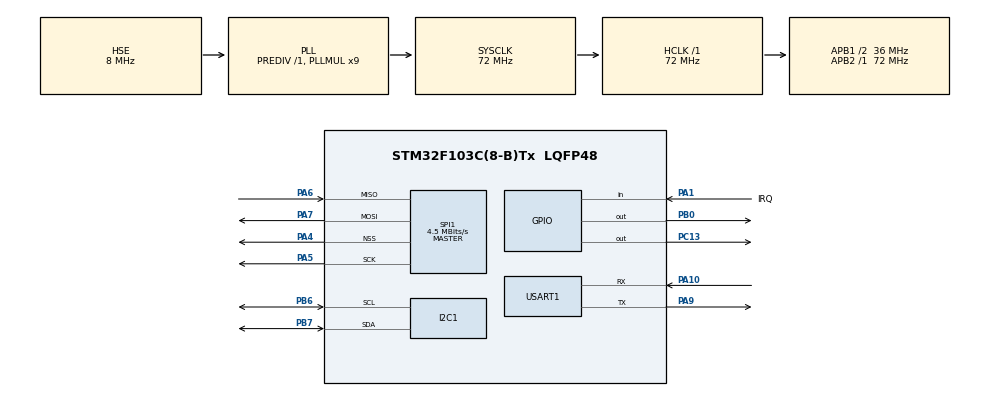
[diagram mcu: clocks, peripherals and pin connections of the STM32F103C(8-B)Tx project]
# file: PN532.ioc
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Mcu.Family=STM32F1
Mcu.Name=STM32F103C(8-B)Tx
Mcu.Package=LQFP48
NVIC.I2C1_ER_IRQn=true\:0\:0\:false\:false\:true\:true\:true\:true
NVIC.I2C1_EV_IRQn=true\:0\:0\:false\:false\:true\:true\:true\:true
NVIC.PriorityGroup=NVIC_PRIORITYGROUP_4
NVIC.SPI1_IRQn=true\:0\:0\:false\:false\:true\:true\:true\:true
NVIC.USART1_IRQn=true\:0\:0\:false\:false\:true\:true\:true\:true
PA1.GPIO_Label=IRQ
PA1.Signal=GPIO_Input
PA10.Mode=Asynchronous
PA10.Signal=USART1_RX
PA13.Mode=Serial_Wire
PA13.Signal=SYS_JTMS-SWDIO
PA14.Mode=Serial_Wire
PA14.Signal=SYS_JTCK-SWCLK
PA4.Mode=NSS_Signal_Hard_Output
PA4.Signal=SPI1_NSS
PA5.Mode=Full_Duplex_Master
PA5.Signal=SPI1_SCK
PA6.Mode=Full_Duplex_Master
PA6.Signal=SPI1_MISO
PA7.Mode=Full_Duplex_Master
PA7.Signal=SPI1_MOSI
PA9.Mode=Asynchronous
PA9.Signal=USART1_TX
PB0.GPIO_Speed=GPIO_SPEED_FREQ_HIGH
PB0.Signal=GPIO_Output
PB6.Mode=I2C
PB6.Signal=I2C1_SCL
PB7.Mode=I2C
PB7.Signal=I2C1_SDA
PC13-TAMPER-RTC.GPIO_Speed=GPIO_SPEED_FREQ_HIGH
PC13-TAMPER-RTC.PinState=GPIO_PIN_SET
PC13-TAMPER-RTC.Signal=GPIO_Output
PD0-OSC_IN.Mode=HSE-External-Oscillator
PD0-OSC_IN.Signal=RCC_OSC_IN
PD1-OSC_OUT.Mode=HSE-External-Oscillator
PD1-OSC_OUT.Signal=RCC_OSC_OUT
ProjectManager.HeapSize=0x200
ProjectManager.StackSize=0x400
ProjectManager.TargetToolchain=STM32CubeIDE
RCC.AHBFreq_Value=72000000
RCC.APB1CLKDivider=RCC_HCLK_DIV2
RCC.APB1Freq_Value=36000000
RCC.APB1TimFreq_Value=72000000
RCC.APB2Freq_Value=72000000
RCC.APB2TimFreq_Value=72000000
RCC.HCLKFreq_Value=72000000
RCC.PLLMUL=RCC_PLL_MUL9
RCC.PLLSourceVirtual=RCC_PLLSOURCE_HSE
RCC.SYSCLKFreq_VALUE=72000000
RCC.SYSCLKSource=RCC_SYSCLKSOURCE_PLLCLK
RCC.USBFreq_Value=72000000
SPI1.BaudRatePrescaler=SPI_BAUDRATEPRESCALER_16
SPI1.CalculateBaudRate=4.5 MBits/s
SPI1.Direction=SPI_DIRECTION_2LINES
SPI1.Mode=SPI_MODE_MASTER
SPI1.VirtualNSS=VM_NSSHARD
SPI1.VirtualType=VM_MASTER
USART1.VirtualMode=VM_ASYNC
board=custom

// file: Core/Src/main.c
/* USER CODE BEGIN Header */
/**
  ******************************************************************************
  * @file           : main.c
  * @brief          : Main program body
  ******************************************************************************
  * @attention
  *
  * Copyright (c) 2025 STMicroelectronics.
  * All rights reserved.
  *
  * This software is licensed under terms that can be found in the LICENSE file
  * in the root directory of this software component.
  * If no LICENSE file comes with this software, it is provided AS-IS.
  *
  ******************************************************************************
  */
/* USER CODE END Header */
#include "main.h"

/* USER CODE BEGIN Includes */
#include "string.h"
#include "stdio.h"
#include "pn532.h"
/* USER CODE END Includes */

/* USER CODE BEGIN PTD */
#define MIFARE_UID_MAX_LENGTH               (10)
#define MIFARE_KEY_LENGTH                   (6)
/* USER CODE END PTD */

I2C_HandleTypeDef hi2c1;

SPI_HandleTypeDef hspi1;

UART_HandleTypeDef huart1;

/* USER CODE BEGIN PV */
PN532 nfc_reader;

uint8_t uid[MIFARE_UID_MAX_LENGTH];
uint8_t uid_length;
/* USER CODE END PV */

void SystemClock_Config(void);
static void MX_GPIO_Init(void);
static void MX_SPI1_Init(void);
static void MX_USART1_UART_Init(void);
static void MX_I2C1_Init(void);
/* USER CODE BEGIN PFP */
void print_debug(char* str);
void print_hex(uint8_t* data, uint8_t length);
void print_debug(char* str);
void print_hex(uint8_t* data, uint8_t length);
/* USER CODE END PFP */

/* USER CODE BEGIN 0 */

void print_debug(char* str)
{
  HAL_UART_Transmit(&huart1, (uint8_t*)str, strlen(str), 100);
}

// Hàm hiển thị hex
void print_hex(uint8_t* data, uint8_t length)
{
  char buffer[3];
  for (uint8_t i = 0; i < length; i++) {
   // sprintf(buffer, "%02X ", data[i]);
    print_debug(buffer);
  }
}

/* USER CODE END 0 */

int main(void)
{

  /* MCU Configuration--------------------------------------------------------*/

  /* Reset of all peripherals, Initializes the Flash interface and the Systick. */
  HAL_Init();

  /* Configure the system clock */
  SystemClock_Config();

  /* Initialize all configured peripherals */
  MX_GPIO_Init();
  MX_SPI1_Init();
  MX_USART1_UART_Init();
  MX_I2C1_Init();
  /* USER CODE BEGIN 2 */

  char buffer[100];

  // Initialize PN532
  print_debug("Initializing PN532 NFC reader...\r\n");
  if (!pn532_init(&nfc_reader, &hi2c1, GPIOA, GPIO_PIN_1)) {
    print_debug("Error: Could not initialize PN532\r\n");
    Error_Handler();
  }

  // Get firmware version
  uint32_t firmware_version = pn532_get_firmware_version(&nfc_reader);
  if (firmware_version) {
	  sprintf(buffer, "Found PN532 with firmware version: %u.%u\r\n",
	          (unsigned int)((firmware_version >> 16) & 0xFF),
	          (unsigned int)((firmware_version >> 8) & 0xFF));
    print_debug(buffer);
  } else {
    print_debug("Error: Could not get firmware version\r\n");
    Error_Handler();
  }

  print_debug("Waiting for RFID/NFC card...\r\n");

    // Get firmware version

  /* USER CODE END 2 */

  /* Infinite loop */
  while (1)
  {

    /* USER CODE BEGIN 3 */
	  if (pn532_read_passive_target(&nfc_reader)) {
	       // Get UID
	       uint8_t uid[MIFARE_UID_MAX_LENGTH];
	       uint8_t uid_length;

	       if (pn532_get_uid(&nfc_reader, uid, &uid_length)) {
	         print_debug("Card detected! UID: ");
	         print_hex(uid, uid_length);
	         print_debug("\r\n");

	         // Example: Read data from block 4 (first data block in Mifare Classic)
	         // Note: You need authentication before reading
	         uint8_t mifare_key[6] = {0xFF, 0xFF, 0xFF, 0xFF, 0xFF, 0xFF}; // Default key

	         if (pn532_mifare_auth(&nfc_reader, 4, mifare_key, MIFARE_CMD_AUTH_A)) {
	           uint8_t block_data[16];

	           if (pn532_mifare_read_block(&nfc_reader, 4, block_data)) {
	             print_debug("Block 4 data: ");
	             print_hex(block_data, 16);
	             print_debug("\r\n");
	           } else {
	             print_debug("Failed to read block 4\r\n");
	           }
	         } else {
	           print_debug("Authentication failed\r\n");
	         }

	         // Wait before checking for a new card
	         HAL_Delay(1000);
	       }
	     }

	     HAL_Delay(100); // Small delay between checks

  }
  /* USER CODE END 3 */
}

void SystemClock_Config(void)
{
  RCC_OscInitTypeDef RCC_OscInitStruct = {0};
  RCC_ClkInitTypeDef RCC_ClkInitStruct = {0};

  /** Initializes the RCC Oscillators according to the specified parameters
  * in the RCC_OscInitTypeDef structure.
  */
  RCC_OscInitStruct.OscillatorType = RCC_OSCILLATORTYPE_HSE;
  RCC_OscInitStruct.HSEState = RCC_HSE_ON;
  RCC_OscInitStruct.HSEPredivValue = RCC_HSE_PREDIV_DIV1;
  RCC_OscInitStruct.HSIState = RCC_HSI_ON;
  RCC_OscInitStruct.PLL.PLLState = RCC_PLL_ON;
  RCC_OscInitStruct.PLL.PLLSource = RCC_PLLSOURCE_HSE;
  RCC_OscInitStruct.PLL.PLLMUL = RCC_PLL_MUL9;
  if (HAL_RCC_OscConfig(&RCC_OscInitStruct) != HAL_OK)
  {
    Error_Handler();
  }

  /** Initializes the CPU, AHB and APB buses clocks
  */
  RCC_ClkInitStruct.ClockType = RCC_CLOCKTYPE_HCLK|RCC_CLOCKTYPE_SYSCLK
                              |RCC_CLOCKTYPE_PCLK1|RCC_CLOCKTYPE_PCLK2;
  RCC_ClkInitStruct.SYSCLKSource = RCC_SYSCLKSOURCE_PLLCLK;
  RCC_ClkInitStruct.AHBCLKDivider = RCC_SYSCLK_DIV1;
  RCC_ClkInitStruct.APB1CLKDivider = RCC_HCLK_DIV2;
  RCC_ClkInitStruct.APB2CLKDivider = RCC_HCLK_DIV1;

  if (HAL_RCC_ClockConfig(&RCC_ClkInitStruct, FLASH_LATENCY_2) != HAL_OK)
  {
    Error_Handler();
  }
}

static void MX_I2C1_Init(void)
{

  hi2c1.Instance = I2C1;
  hi2c1.Init.ClockSpeed = 100000;
  hi2c1.Init.DutyCycle = I2C_DUTYCYCLE_2;
  hi2c1.Init.OwnAddress1 = 0;
  hi2c1.Init.AddressingMode = I2C_ADDRESSINGMODE_7BIT;
  hi2c1.Init.DualAddressMode = I2C_DUALADDRESS_DISABLE;
  hi2c1.Init.OwnAddress2 = 0;
  hi2c1.Init.GeneralCallMode = I2C_GENERALCALL_DISABLE;
  hi2c1.Init.NoStretchMode = I2C_NOSTRETCH_DISABLE;
  if (HAL_I2C_Init(&hi2c1) != HAL_OK)
  {
    Error_Handler();
  }

}

static void MX_SPI1_Init(void)
{

  /* SPI1 parameter configuration*/
  hspi1.Instance = SPI1;
  hspi1.Init.Mode = SPI_MODE_MASTER;
  hspi1.Init.Direction = SPI_DIRECTION_2LINES;
  hspi1.Init.DataSize = SPI_DATASIZE_8BIT;
  hspi1.Init.CLKPolarity = SPI_POLARITY_LOW;
  hspi1.Init.CLKPhase = SPI_PHASE_1EDGE;
  hspi1.Init.NSS = SPI_NSS_HARD_OUTPUT;
  hspi1.Init.BaudRatePrescaler = SPI_BAUDRATEPRESCALER_16;
  hspi1.Init.FirstBit = SPI_FIRSTBIT_MSB;
  hspi1.Init.TIMode = SPI_TIMODE_DISABLE;
  hspi1.Init.CRCCalculation = SPI_CRCCALCULATION_DISABLE;
  hspi1.Init.CRCPolynomial = 10;
  if (HAL_SPI_Init(&hspi1) != HAL_OK)
  {
    Error_Handler();
  }

}

static void MX_USART1_UART_Init(void)
{

  huart1.Instance = USART1;
  huart1.Init.BaudRate = 115200;
  huart1.Init.WordLength = UART_WORDLENGTH_8B;
  huart1.Init.StopBits = UART_STOPBITS_1;
  huart1.Init.Parity = UART_PARITY_NONE;
  huart1.Init.Mode = UART_MODE_TX_RX;
  huart1.Init.HwFlowCtl = UART_HWCONTROL_NONE;
  huart1.Init.OverSampling = UART_OVERSAMPLING_16;
  if (HAL_UART_Init(&huart1) != HAL_OK)
  {
    Error_Handler();
  }

}

static void MX_GPIO_Init(void)
{
  GPIO_InitTypeDef GPIO_InitStruct = {0};

  /* GPIO Ports Clock Enable */
  __HAL_RCC_GPIOC_CLK_ENABLE();
  __HAL_RCC_GPIOD_CLK_ENABLE();
  __HAL_RCC_GPIOA_CLK_ENABLE();
  __HAL_RCC_GPIOB_CLK_ENABLE();

  /*Configure GPIO pin Output Level */
  HAL_GPIO_WritePin(GPIOC, GPIO_PIN_13, GPIO_PIN_SET);

  /*Configure GPIO pin Output Level */
  HAL_GPIO_WritePin(GPIOB, GPIO_PIN_0, GPIO_PIN_RESET);

  /*Configure GPIO pin : PC13 */
  GPIO_InitStruct.Pin = GPIO_PIN_13;
  GPIO_InitStruct.Mode = GPIO_MODE_OUTPUT_PP;
  GPIO_InitStruct.Pull = GPIO_NOPULL;
  GPIO_InitStruct.Speed = GPIO_SPEED_FREQ_HIGH;
  HAL_GPIO_Init(GPIOC, &GPIO_InitStruct);

  /*Configure GPIO pin : IRQ_Pin */
  GPIO_InitStruct.Pin = IRQ_Pin;
  GPIO_InitStruct.Mode = GPIO_MODE_INPUT;
  GPIO_InitStruct.Pull = GPIO_NOPULL;
  HAL_GPIO_Init(IRQ_GPIO_Port, &GPIO_InitStruct);

  /*Configure GPIO pin : PB0 */
  GPIO_InitStruct.Pin = GPIO_PIN_0;
  GPIO_InitStruct.Mode = GPIO_MODE_OUTPUT_PP;
  GPIO_InitStruct.Pull = GPIO_NOPULL;
  GPIO_InitStruct.Speed = GPIO_SPEED_FREQ_HIGH;
  HAL_GPIO_Init(GPIOB, &GPIO_InitStruct);

}

void Error_Handler(void)
{
  __disable_irq();
  while (1)
  {
  }
}
